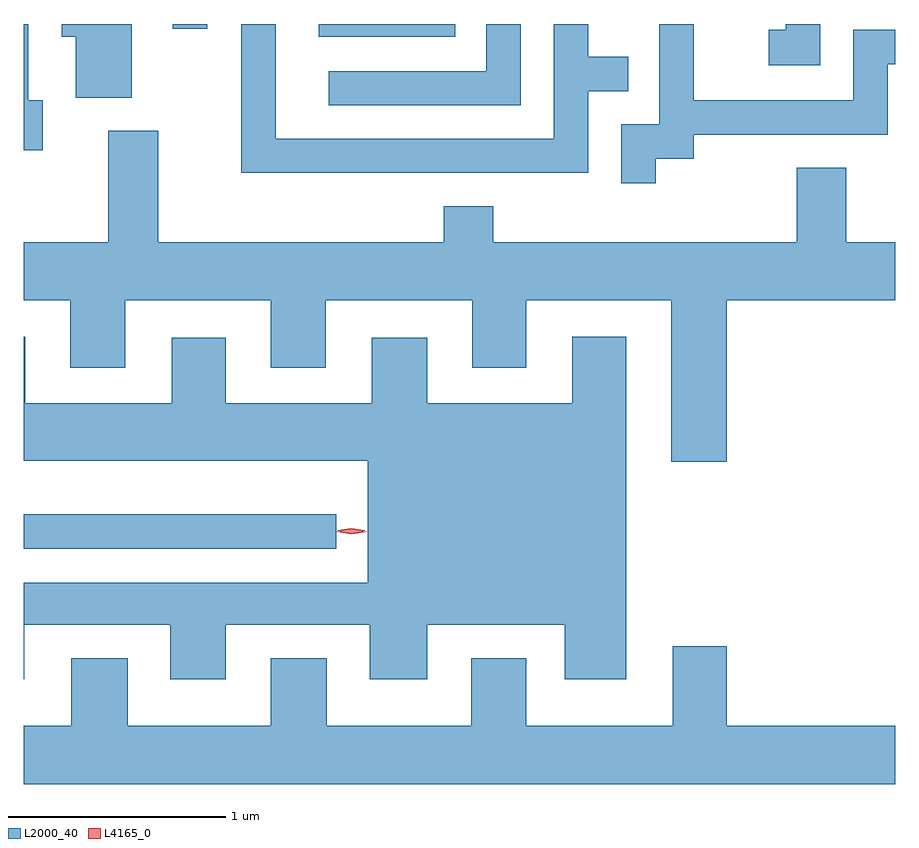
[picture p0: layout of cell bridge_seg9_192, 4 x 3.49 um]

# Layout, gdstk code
import gdstk
lib = gdstk.Library(unit=1e-6, precision=1e-09)
def R(c, l, rs):  # rectangles x0, y0, x1, y1
    for r in rs: c.add(gdstk.rectangle(r[:2], r[2:], *l))
def P(c, l, *ps):  # polygons
    for p in ps: c.add(gdstk.Polygon(p, *l))
L2000_40 = (2000, 40)
L4165_0 = (4165, 0)

bridge_seg9_192 = lib.new_cell('bridge_seg9_192')
R(bridge_seg9_192, L2000_40, [(1278.433,1988.456,1279.868,1988.614), (1279.786,1990.806,1280.413,1990.865), (1279.116,1990.843,1279.274,1990.865)])
P(bridge_seg9_192, L2000_40, [(1280.714,1990.865),(1280.556,1990.865),(1280.556,1990.649),(1279.833,1990.649),(1279.833,1990.491),(1280.714,1990.491)],
  [(1278.929,1990.865),(1278.606,1990.865),(1278.606,1990.806),(1278.671,1990.806),(1278.671,1990.526),(1278.929,1990.526)],
  [(1281.024,1990.556),(1281.208,1990.556),(1281.208,1990.714),(1281.024,1990.714),(1281.024,1990.865),(1280.866,1990.865),(1280.866,1990.339),(1279.589,1990.339),(1279.589,1990.865),(1279.431,1990.865),(1279.431,1990.181),(1281.024,1990.181)],
  [(1282.089,1990.865),(1281.931,1990.865),(1281.931,1990.839),(1281.853,1990.839),(1281.853,1990.676),(1282.089,1990.676)],
  [(1278.519,1990.514),(1278.454,1990.514),(1278.454,1990.865),(1278.433,1990.865),(1278.433,1990.286),(1278.519,1990.286)],
  [(1281.334,1990.246),(1281.509,1990.246),(1281.509,1990.356),(1282.399,1990.356),(1282.399,1990.681),(1282.433,1990.681),(1282.433,1990.839),(1282.241,1990.839),(1282.241,1990.514),(1281.509,1990.514),(1281.509,1990.865),(1281.351,1990.865),(1281.351,1990.404),(1281.176,1990.404),(1281.176,1990.133),(1281.334,1990.133)],
  [(1281.659,1989.596),(1282.433,1989.596),(1282.433,1989.864),(1282.209,1989.864),(1282.209,1990.204),(1281.981,1990.204),(1281.981,1989.864),(1280.589,1989.864),(1280.589,1990.029),(1280.361,1990.029),(1280.361,1989.864),(1279.049,1989.864),(1279.049,1990.374),(1278.821,1990.374),(1278.821,1989.864),(1278.433,1989.864),(1278.433,1989.596),(1278.646,1989.596),(1278.646,1989.286),(1278.899,1989.286),(1278.899,1989.596),(1279.566,1989.596),(1279.566,1989.286),(1279.819,1989.286),(1279.819,1989.596),(1280.491,1989.596),(1280.491,1989.286),(1280.739,1989.286),(1280.739,1989.596),(1281.406,1989.596),(1281.406,1988.856),(1281.659,1988.856)],
  [(1278.434,1988.106),(1279.106,1988.106),(1279.106,1987.856),(1279.359,1987.856),(1279.359,1988.106),(1280.021,1988.106),(1280.021,1987.856),(1280.284,1987.856),(1280.284,1988.106),(1280.916,1988.106),(1280.916,1987.856),(1281.199,1987.856),(1281.199,1989.429),(1280.951,1989.429),(1280.951,1989.124),(1280.284,1989.124),(1280.284,1989.424),(1280.031,1989.424),(1280.031,1989.124),(1279.359,1989.124),(1279.359,1989.424),(1279.111,1989.424),(1279.111,1989.124),(1278.439,1989.124),(1278.439,1989.429),(1278.433,1989.429),(1278.433,1988.861),(1280.011,1988.861),(1280.011,1988.299),(1278.433,1988.299),(1278.433,1987.856),(1278.434,1987.856)],
  [(1282.433,1987.644),(1281.659,1987.644),(1281.659,1988.009),(1281.411,1988.009),(1281.411,1987.644),(1280.739,1987.644),(1280.739,1987.954),(1280.486,1987.954),(1280.486,1987.644),(1279.824,1987.644),(1279.824,1987.954),(1279.566,1987.954),(1279.566,1987.644),(1278.909,1987.644),(1278.909,1987.954),(1278.651,1987.954),(1278.651,1987.644),(1278.433,1987.644),(1278.433,1987.376),(1282.433,1987.376)])
P(bridge_seg9_192, L4165_0, [(1279.936,1988.529),(1279.873,1988.539),(1279.873,1988.539),(1279.873,1988.54),(1279.936,1988.549),(1279.997,1988.54),(1279.998,1988.54),(1279.997,1988.539)],
  [(1279.939,1988.523),(1279.87,1988.533),(1279.869,1988.533),(1279.87,1988.534),(1279.939,1988.543),(1280.007,1988.534),(1280.008,1988.533),(1280.007,1988.533)])

lib.write_gds('bridge_seg9_192.gds')
